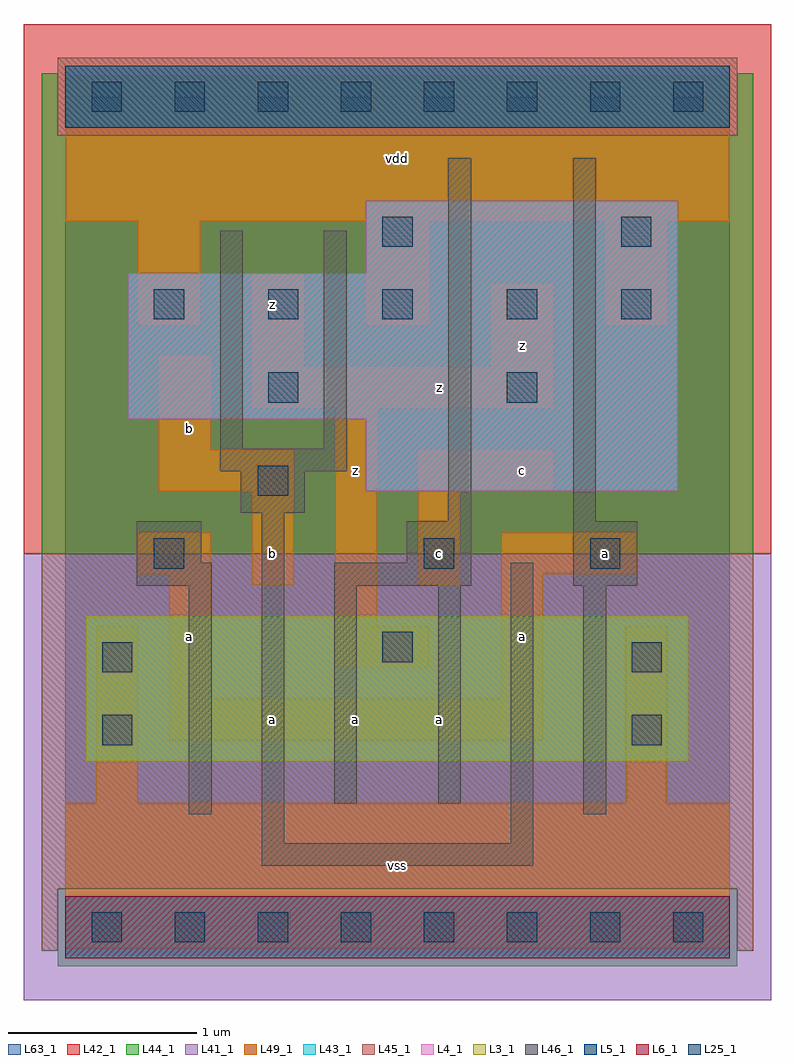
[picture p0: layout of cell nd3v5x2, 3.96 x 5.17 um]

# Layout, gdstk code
import gdstk
lib = gdstk.Library(unit=1e-6, precision=1e-09)
def R(c, l, rs):  # rectangles x0, y0, x1, y1
    for r in rs: c.add(gdstk.rectangle(r[:2], r[2:], *l))
def A(c, l, x, y, w, h, nx, ny, dx, dy):  # array of equal rectangles
    R(c, l, [(x+i*dx, y+j*dy, x+i*dx+w, y+j*dy+h) for i in range(nx) for j in range(ny)])
L3_1 = (3, 1)
L4_1 = (4, 1)
L5_1 = (5, 1)
L6_1 = (6, 1)
L25_1 = (25, 1)
L41_1 = (41, 1)
L42_1 = (42, 1)
L43_1 = (43, 1)
L44_1 = (44, 1)
L45_1 = (45, 1)
L46_1 = (46, 1)
L49_1 = (49, 1)
L63_1 = (63, 1)

nd3v5x2 = lib.new_cell('nd3v5x2')
R(nd3v5x2, L3_1, [(0.11,0.88,3.3,1.65)])
R(nd3v5x2, L4_1, [(1.595,2.31,3.245,2.695), (0.33,2.695,3.245,3.465), (1.595,3.465,3.245,3.85)])
R(nd3v5x2, L5_1, [(0,4.235,3.52,4.565)])
R(nd3v5x2, L6_1, [(0,-0.165,3.52,0.165)])
A(nd3v5x2, L25_1, 0.14, -0.08, 0.16, 0.16, 8, 2, 0.44, 4.4)
A(nd3v5x2, L25_1, 0.47, 3.22, 0.16, 0.16, 3, 1, 0.605, 0)
R(nd3v5x2, L25_1, [(0.195,0.965,0.355,1.125), (3,0.965,3.16,1.125), (0.195,1.35,0.355,1.51), (3,1.35,3.16,1.51), (1.68,1.405,1.84,1.565), (0.47,1.9,0.63,2.06), (1.9,1.9,2.06,2.06), (2.78,1.9,2.94,2.06), (1.02,2.285,1.18,2.445), (1.075,2.78,1.235,2.94), (2.34,2.78,2.5,2.94), (2.34,3.22,2.5,3.38), (2.945,3.22,3.105,3.38), (1.68,3.605,1.84,3.765), (2.945,3.605,3.105,3.765)])
R(nd3v5x2, L41_1, [(-0.22,-0.385,3.74,1.98)])
R(nd3v5x2, L42_1, [(-0.22,1.98,3.74,4.785)])
R(nd3v5x2, L43_1, [(0,-0.165,3.52,0.165), (0.11,0.88,3.3,1.65), (1.595,2.31,3.245,2.695), (0.33,2.695,3.245,3.465), (1.595,3.465,3.245,3.85), (0,4.235,3.52,4.565)])
R(nd3v5x2, L44_1, [(-0.04,-0.205,3.56,0.205), (-0.125,1.98,3.645,4.195), (-0.125,4.195,-0.04,4.525), (3.56,4.195,3.645,4.525)])
R(nd3v5x2, L45_1, [(-0.125,-0.125,-0.04,0.205), (3.56,-0.125,3.645,0.205), (-0.125,0.205,3.645,1.98), (-0.04,4.195,3.56,4.605)])
R(nd3v5x2, L46_1, [(1.04,0.325,2.48,0.445), (1.04,0.445,1.16,2.195), (2.36,0.445,2.48,1.93), (0.655,0.6,0.775,1.81), (2.745,0.6,2.865,1.81), (1.425,0.655,1.545,1.81), (1.975,0.655,2.095,1.81), (0.38,1.81,0.775,1.93), (1.425,1.81,2.15,1.93), (2.69,1.81,3.03,2.15), (0.38,1.93,0.72,2.15), (1.81,1.93,2.15,2.15), (2.03,2.15,2.15,4.075), (2.69,2.15,2.81,4.075), (0.93,2.195,1.27,2.415), (0.82,2.415,1.49,2.535), (0.82,2.535,0.94,3.69), (1.37,2.535,1.49,3.69)])
R(nd3v5x2, L49_1, [(0,-0.11,3.52,0.66), (0.165,0.66,0.385,1.595), (2.97,0.66,3.19,1.595), (0.55,0.99,2.53,1.21), (0.55,1.21,0.77,1.87), (2.31,1.21,2.53,1.87), (1.43,1.375,1.925,1.595), (1.43,1.595,1.65,2.75), (0.99,1.815,1.21,2.31), (1.87,1.815,2.09,2.31), (0.385,1.87,0.77,2.09), (2.31,1.87,3.025,2.09), (0.495,2.31,1.21,2.53), (1.87,2.31,2.585,2.53), (0.495,2.53,0.77,3.025), (0.99,2.75,2.585,2.97), (0.99,2.97,1.265,3.465), (2.255,2.97,2.585,3.41), (0.385,3.19,0.715,3.74), (1.595,3.19,1.925,3.74), (2.86,3.19,3.19,3.74), (0,3.74,3.52,4.51)])
R(nd3v5x2, L63_1, [(0,0,3.52,4.4)])
nd3v5x2.add(gdstk.Label('a', (0.66,1.54), layer=49, texttype=1))
nd3v5x2.add(gdstk.Label('a', (1.1,1.1), layer=49, texttype=1))
nd3v5x2.add(gdstk.Label('b', (1.1,1.98), layer=49, texttype=1))
nd3v5x2.add(gdstk.Label('b', (0.66,2.64), layer=49, texttype=1))
nd3v5x2.add(gdstk.Label('z', (1.1,3.3), layer=49, texttype=1))
nd3v5x2.add(gdstk.Label('vss', (1.76,0.33), layer=49, texttype=1))
nd3v5x2.add(gdstk.Label('a', (1.54,1.1), layer=49, texttype=1))
nd3v5x2.add(gdstk.Label('a', (1.98,1.1), layer=49, texttype=1))
nd3v5x2.add(gdstk.Label('z', (1.54,2.42), layer=49, texttype=1))
nd3v5x2.add(gdstk.Label('c', (1.98,1.98), layer=49, texttype=1))
nd3v5x2.add(gdstk.Label('z', (1.98,2.86), layer=49, texttype=1))
nd3v5x2.add(gdstk.Label('vdd', (1.76,4.07), layer=49, texttype=1))
nd3v5x2.add(gdstk.Label('a', (2.42,1.54), layer=49, texttype=1))
nd3v5x2.add(gdstk.Label('c', (2.42,2.42), layer=49, texttype=1))
nd3v5x2.add(gdstk.Label('z', (2.42,3.08), layer=49, texttype=1))
nd3v5x2.add(gdstk.Label('a', (2.86,1.98), layer=49, texttype=1))

lib.write_gds('nd3v5x2.gds')
